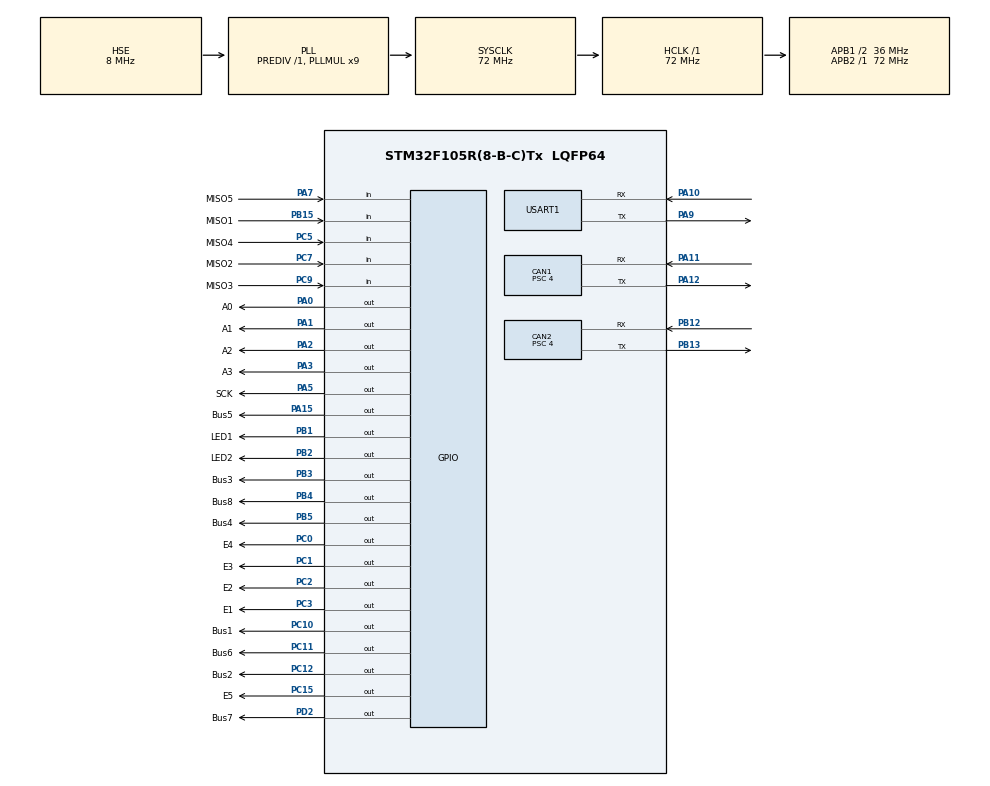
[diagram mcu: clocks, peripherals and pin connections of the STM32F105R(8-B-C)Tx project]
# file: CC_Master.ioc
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CAN1.BS1=CAN_BS1_15TQ
CAN1.BS2=CAN_BS2_2TQ
CAN1.CalculateBaudRate=500000
CAN1.CalculateTimeBit=2000
CAN1.CalculateTimeQuantum=111.11111111111111
CAN1.Prescaler=4
CAN2.BS1=CAN_BS1_15TQ
CAN2.BS2=CAN_BS2_2TQ
CAN2.CalculateBaudRate=500000
CAN2.CalculateTimeBit=2000
CAN2.CalculateTimeQuantum=111.11111111111111
CAN2.Prescaler=4
Mcu.Family=STM32F1
Mcu.Name=STM32F105R(8-B-C)Tx
Mcu.Package=LQFP64
NVIC.PriorityGroup=NVIC_PRIORITYGROUP_4
NVIC.TIM2_IRQn=true\:0\:0\:false\:false\:true\:true\:true\:true
PA0-WKUP.GPIO_Label=A0
PA0-WKUP.Signal=GPIO_Output
PA1.GPIO_Label=A1
PA1.Signal=GPIO_Output
PA10.Mode=Asynchronous
PA10.Signal=USART1_RX
PA11.Mode=CAN_Activate
PA11.Signal=CAN1_RX
PA12.Mode=CAN_Activate
PA12.Signal=CAN1_TX
PA13.Mode=Serial_Wire
PA13.Signal=SYS_JTMS-SWDIO
PA14.Mode=Serial_Wire
PA14.Signal=SYS_JTCK-SWCLK
PA15.GPIO_Label=Bus5
PA15.Signal=GPIO_Output
PA2.GPIO_Label=A2
PA2.Signal=GPIO_Output
PA3.GPIO_Label=A3
PA3.Signal=GPIO_Output
PA5.GPIO_Label=SCK
PA5.Signal=GPIO_Output
PA7.GPIO_Label=MISO5
PA7.Signal=GPIO_Input
PA9.Mode=Asynchronous
PA9.Signal=USART1_TX
PB1.GPIO_Label=LED1
PB1.Signal=GPIO_Output
PB12.Mode=CAN_Activate
PB12.Signal=CAN2_RX
PB13.Mode=CAN_Activate
PB13.Signal=CAN2_TX
PB15.GPIO_Label=MISO1
PB15.Signal=GPIO_Input
PB2.GPIO_Label=LED2
PB2.Signal=GPIO_Output
PB3.GPIO_Label=Bus3
PB3.Signal=GPIO_Output
PB4.GPIO_Label=Bus8
PB4.Signal=GPIO_Output
PB5.GPIO_Label=Bus4
PB5.Signal=GPIO_Output
PC0.GPIO_Label=E4
PC0.Signal=GPIO_Output
PC1.GPIO_Label=E3
PC1.Signal=GPIO_Output
PC10.GPIO_Label=Bus1
PC10.Signal=GPIO_Output
PC11.GPIO_Label=Bus6
PC11.Signal=GPIO_Output
PC12.GPIO_Label=Bus2
PC12.Signal=GPIO_Output
PC15-OSC32_OUT.GPIO_Label=E5
PC15-OSC32_OUT.Signal=GPIO_Output
PC2.GPIO_Label=E2
PC2.Signal=GPIO_Output
PC3.GPIO_Label=E1
PC3.Signal=GPIO_Output
PC5.GPIO_Label=MISO4
PC5.Signal=GPIO_Input
PC7.GPIO_Label=MISO2
PC7.Signal=GPIO_Input
PC9.GPIO_Label=MISO3
PC9.Signal=GPIO_Input
PD0-OSC_IN.Mode=HSE-External-Oscillator
PD0-OSC_IN.Signal=RCC_OSC_IN
PD1-OSC_OUT.Mode=HSE-External-Oscillator
PD1-OSC_OUT.Signal=RCC_OSC_OUT
PD2.GPIO_Label=Bus7
PD2.Signal=GPIO_Output
ProjectManager.HeapSize=0x200
ProjectManager.StackSize=0x400
ProjectManager.TargetToolchain=STM32CubeIDE
RCC.AHBFreq_Value=72000000
RCC.APB1CLKDivider=RCC_HCLK_DIV2
RCC.APB1Freq_Value=36000000
RCC.APB1TimFreq_Value=72000000
RCC.APB2Freq_Value=72000000
RCC.APB2TimFreq_Value=72000000
RCC.HCLKFreq_Value=72000000
RCC.PLLMUL=RCC_PLL_MUL9
RCC.PLLSourceVirtual=RCC_PLLSOURCE_HSE
RCC.SYSCLKFreq_VALUE=72000000
RCC.SYSCLKSource=RCC_SYSCLKSOURCE_PLLCLK
RCC.USBFreq_Value=48000000
TIM2.Period=10
TIM2.Prescaler=3599
USART1.VirtualMode=VM_ASYNC
VP_TIM2_VS_ClockSourceINT.Mode=Internal
board=custom

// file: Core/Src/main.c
/* USER CODE BEGIN Header */
/**
  ******************************************************************************
  * @file           : main.c
  * @brief          : Main program body
  ******************************************************************************
  * @attention
  *
  * Copyright (c) 2025 STMicroelectronics.
  * All rights reserved.
  *
  * This software is licensed under terms that can be found in the LICENSE file
  * in the root directory of this software component.
  * If no LICENSE file comes with this software, it is provided AS-IS.
  *
  ******************************************************************************
  */
/* USER CODE END Header */
#include "main.h"

CAN_HandleTypeDef hcan1;
CAN_HandleTypeDef hcan2;

TIM_HandleTypeDef htim2;

UART_HandleTypeDef huart1;

/* USER CODE BEGIN PV */
uint8_t timer_tick_flag = 0;

uint16_t value12;
uint16_t adc_value = 0;
uint16_t V = 0;
uint16_t adc12 = 0;
uint8_t bit_index = 0;
uint8_t transfer_done = 0;
uint8_t timer_flag = 0;
uint8_t sck_state = 0;
/* USER CODE END PV */

void SystemClock_Config(void);
static void MX_GPIO_Init(void);
static void MX_CAN1_Init(void);
static void MX_CAN2_Init(void);
static void MX_USART1_UART_Init(void);
static void MX_TIM2_Init(void);
/* USER CODE BEGIN PFP */
#define PUTCHAR_PROTOTYPE int __io_putchar(int ch)

#define SCK_HIGH()    HAL_GPIO_WritePin(GPIOA, SCK_Pin, GPIO_PIN_SET)
#define SCK_LOW()     HAL_GPIO_WritePin(GPIOA, SCK_Pin, GPIO_PIN_RESET)
/* USER CODE END PFP */

/* USER CODE BEGIN 0 */
void WaitTimerTick(void)
{
    while (!timer_tick_flag);  // ждём, пока не установится
    timer_tick_flag = 0;       // сбрасываем после ожидания
}

void ADC_ChipSelect(uint8_t adc_index)
{
	uint8_t bit0 = (adc_index >> 0) & 0x01;
	uint8_t bit1 = (adc_index >> 1) & 0x01;
	uint8_t bit2 = (adc_index >> 2) & 0x01;
	uint8_t bit3 = (adc_index >> 3) & 0x01;

	HAL_GPIO_WritePin(GPIOA, A0_Pin, bit0 ? GPIO_PIN_SET : GPIO_PIN_RESET);
	HAL_GPIO_WritePin(GPIOA, A1_Pin, bit1 ? GPIO_PIN_SET : GPIO_PIN_RESET);
	HAL_GPIO_WritePin(GPIOA, A2_Pin, bit2 ? GPIO_PIN_SET : GPIO_PIN_RESET);
	HAL_GPIO_WritePin(GPIOA, A3_Pin, bit3 ? GPIO_PIN_SET : GPIO_PIN_RESET);
}

void ADC_LevelSet(uint8_t adc_index, GPIO_PinState adc_level)
{
	uint8_t board_index = adc_index / 14;

	switch (board_index)
	{
		case (0):
			HAL_GPIO_WritePin(GPIOC, E1_Pin, adc_level);
			break;
		case (1):
			HAL_GPIO_WritePin(GPIOC, E2_Pin, adc_level);
			break;
		case (2):
			HAL_GPIO_WritePin(GPIOC, E3_Pin, adc_level);
			break;
		case (3):
			HAL_GPIO_WritePin(GPIOC, E4_Pin, adc_level);
			break;
		case (4):
			HAL_GPIO_WritePin(GPIOC, E5_Pin, adc_level);
			break;
		default:
			HAL_GPIO_WritePin(GPIOC, E1_Pin, GPIO_PIN_SET);
			HAL_GPIO_WritePin(GPIOC, E2_Pin, GPIO_PIN_SET);
			HAL_GPIO_WritePin(GPIOC, E3_Pin, GPIO_PIN_SET);
			HAL_GPIO_WritePin(GPIOC, E4_Pin, GPIO_PIN_SET);
			HAL_GPIO_WritePin(GPIOC, E5_Pin, GPIO_PIN_SET);
			break;
	}

}

uint8_t MISO_READ(uint8_t adc_index)
{
    uint8_t board_index = adc_index / 14;

    switch (board_index)
    {
        case 0:
            return HAL_GPIO_ReadPin(GPIOB, MISO1_Pin);
        case 1:
            return HAL_GPIO_ReadPin(GPIOC, MISO2_Pin);
        case 2:
            return HAL_GPIO_ReadPin(GPIOC, MISO3_Pin);
        case 3:
            return HAL_GPIO_ReadPin(GPIOC, MISO4_Pin);
        case 4:
            return HAL_GPIO_ReadPin(GPIOA, MISO5_Pin);
        default:
            return 0;
    }
}

void ADC_On(uint8_t adc_index)
{
	HAL_TIM_Base_Start_IT(&htim2); // запускаем таймер

	ADC_LevelSet(adc_index, GPIO_PIN_RESET);
	for(int i=0; i<22; i++)
	{
		WaitTimerTick();
	}
	ADC_LevelSet(adc_index, GPIO_PIN_SET);

	HAL_TIM_Base_Stop_IT(&htim2);
}

void ADC_DataRead(uint8_t adc_index)
{
	HAL_TIM_Base_Start_IT(&htim2); // запускаем таймер

	ADC_LevelSet(adc_index, GPIO_PIN_RESET);

	for(int i=0; i<16; i++)
	{
	    // фронт
	    SCK_HIGH();
	    WaitTimerTick();
	    adc_value <<= 1;
	    if(MISO_READ(adc_index)) adc_value |= 1;

	    // спад
	    SCK_LOW();
	    WaitTimerTick();
	}

	ADC_LevelSet(adc_index, GPIO_PIN_SET);
	HAL_TIM_Base_Stop_IT(&htim2);

	adc12 = adc_value & 0x0FFF; // 12 бит ADC
	V = (uint16_t)(adc12 * 1000 * 3.3f * 6.6f / 4095.0f);
	printf("ADC = %u, V = %u mV\n\r", adc12, V);
	sck_state = 0;
	bit_index = 0;
	return;
}

void ADC_Off(uint8_t adc_index)
{
	HAL_TIM_Base_Start_IT(&htim2); // запускаем таймер

	ADC_LevelSet(adc_index, GPIO_PIN_RESET);
	for(int i=0; i<8; i++)
	{
		WaitTimerTick();
	}
	ADC_LevelSet(adc_index, GPIO_PIN_SET);

	HAL_TIM_Base_Stop_IT(&htim2);
}
/* USER CODE END 0 */

int main(void)
{

  /* MCU Configuration--------------------------------------------------------*/

  /* Reset of all peripherals, Initializes the Flash interface and the Systick. */
  HAL_Init();

  /* Configure the system clock */
  SystemClock_Config();

  /* Initialize all configured peripherals */
  MX_GPIO_Init();
  MX_CAN1_Init();
  MX_CAN2_Init();
  MX_USART1_UART_Init();
  MX_TIM2_Init();
  /* USER CODE BEGIN 2 */

  HAL_CAN_Start(&hcan1);

     CAN_TxHeaderTypeDef TxHeader;
     CAN_RxHeaderTypeDef RxHeader;
     uint8_t TxData[8] = {1,2,3,4,5,6,7,8};
     uint8_t RxData[8];
     uint32_t TxMailbox;

     TxHeader.DLC = 8;
     TxHeader.IDE = CAN_ID_STD;
     TxHeader.RTR = CAN_RTR_DATA;
     TxHeader.StdId = 0x100;
  // Отправляем кадр

  /* USER CODE END 2 */

  /* Infinite loop */
  /* USER CODE BEGIN WHILE */
  while (1)
  {

	  for (uint8_t adc_index = 42; adc_index <= 55; adc_index++)
	  {
			bit_index = 0;
			adc_value = 0;
			ADC_ChipSelect(adc_index);
			ADC_On(adc_index);
			HAL_Delay(1);
			ADC_DataRead(adc_index);
			HAL_Delay(1);
			ADC_Off(adc_index);
			HAL_Delay(1);
	  }
	  HAL_GPIO_TogglePin(GPIOB, LED1_Pin);
	  HAL_Delay(100);
	  HAL_GPIO_TogglePin(GPIOB, LED2_Pin);
	  printf("\033[2J");  // очистить весь экран
	  printf("\033[H");   // курсор в начало

    /* USER CODE END WHILE */

  }
}

void SystemClock_Config(void)
{
  RCC_OscInitTypeDef RCC_OscInitStruct = {0};
  RCC_ClkInitTypeDef RCC_ClkInitStruct = {0};

  /** Initializes the RCC Oscillators according to the specified parameters
  * in the RCC_OscInitTypeDef structure.
  */
  RCC_OscInitStruct.OscillatorType = RCC_OSCILLATORTYPE_HSE;
  RCC_OscInitStruct.HSEState = RCC_HSE_ON;
  RCC_OscInitStruct.HSEPredivValue = RCC_HSE_PREDIV_DIV1;
  RCC_OscInitStruct.HSIState = RCC_HSI_ON;
  RCC_OscInitStruct.Prediv1Source = RCC_PREDIV1_SOURCE_HSE;
  RCC_OscInitStruct.PLL.PLLState = RCC_PLL_ON;
  RCC_OscInitStruct.PLL.PLLSource = RCC_PLLSOURCE_HSE;
  RCC_OscInitStruct.PLL.PLLMUL = RCC_PLL_MUL9;
  RCC_OscInitStruct.PLL2.PLL2State = RCC_PLL_NONE;
  if (HAL_RCC_OscConfig(&RCC_OscInitStruct) != HAL_OK)
  {
    Error_Handler();
  }

  /** Initializes the CPU, AHB and APB buses clocks
  */
  RCC_ClkInitStruct.ClockType = RCC_CLOCKTYPE_HCLK|RCC_CLOCKTYPE_SYSCLK
                              |RCC_CLOCKTYPE_PCLK1|RCC_CLOCKTYPE_PCLK2;
  RCC_ClkInitStruct.SYSCLKSource = RCC_SYSCLKSOURCE_PLLCLK;
  RCC_ClkInitStruct.AHBCLKDivider = RCC_SYSCLK_DIV1;
  RCC_ClkInitStruct.APB1CLKDivider = RCC_HCLK_DIV2;
  RCC_ClkInitStruct.APB2CLKDivider = RCC_HCLK_DIV1;

  if (HAL_RCC_ClockConfig(&RCC_ClkInitStruct, FLASH_LATENCY_2) != HAL_OK)
  {
    Error_Handler();
  }

  /** Configure the Systick interrupt time
  */
  __HAL_RCC_PLLI2S_ENABLE();
}

static void MX_CAN1_Init(void)
{

  hcan1.Instance = CAN1;
  hcan1.Init.Prescaler = 4;
  hcan1.Init.Mode = CAN_MODE_NORMAL;
  hcan1.Init.SyncJumpWidth = CAN_SJW_1TQ;
  hcan1.Init.TimeSeg1 = CAN_BS1_15TQ;
  hcan1.Init.TimeSeg2 = CAN_BS2_2TQ;
  hcan1.Init.TimeTriggeredMode = DISABLE;
  hcan1.Init.AutoBusOff = DISABLE;
  hcan1.Init.AutoWakeUp = DISABLE;
  hcan1.Init.AutoRetransmission = DISABLE;
  hcan1.Init.ReceiveFifoLocked = DISABLE;
  hcan1.Init.TransmitFifoPriority = DISABLE;
  if (HAL_CAN_Init(&hcan1) != HAL_OK)
  {
    Error_Handler();
  }
  /* USER CODE BEGIN CAN1_Init 2 */
  // Конфигурация фильтра (пропускает все кадры)
  CAN_FilterTypeDef canfilterconfig;
  canfilterconfig.FilterActivation = CAN_FILTER_ENABLE;
  canfilterconfig.FilterBank = 0;
  canfilterconfig.FilterFIFOAssignment = CAN_FILTER_FIFO0;
  canfilterconfig.FilterIdHigh = 0x0000;
  canfilterconfig.FilterIdLow = 0x0000;
  canfilterconfig.FilterMaskIdHigh = 0x0000;
  canfilterconfig.FilterMaskIdLow = 0x0000;
  canfilterconfig.FilterMode = CAN_FILTERMODE_IDMASK;
  canfilterconfig.FilterScale = CAN_FILTERSCALE_32BIT;
  canfilterconfig.SlaveStartFilterBank = 14;

  HAL_CAN_ConfigFilter(&hcan1, &canfilterconfig);
  /* USER CODE END CAN1_Init 2 */

}

static void MX_CAN2_Init(void)
{

  hcan2.Instance = CAN2;
  hcan2.Init.Prescaler = 4;
  hcan2.Init.Mode = CAN_MODE_NORMAL;
  hcan2.Init.SyncJumpWidth = CAN_SJW_1TQ;
  hcan2.Init.TimeSeg1 = CAN_BS1_15TQ;
  hcan2.Init.TimeSeg2 = CAN_BS2_2TQ;
  hcan2.Init.TimeTriggeredMode = DISABLE;
  hcan2.Init.AutoBusOff = DISABLE;
  hcan2.Init.AutoWakeUp = DISABLE;
  hcan2.Init.AutoRetransmission = DISABLE;
  hcan2.Init.ReceiveFifoLocked = DISABLE;
  hcan2.Init.TransmitFifoPriority = DISABLE;
  if (HAL_CAN_Init(&hcan2) != HAL_OK)
  {
    Error_Handler();
  }
  /* USER CODE BEGIN CAN2_Init 2 */
  // Конфигурация фильтра (пропускает все кадры)
  CAN_FilterTypeDef canfilterconfig;
  canfilterconfig.FilterActivation = CAN_FILTER_ENABLE;
  canfilterconfig.FilterBank = 0;
  canfilterconfig.FilterFIFOAssignment = CAN_FILTER_FIFO0;
  canfilterconfig.FilterIdHigh = 0x0000;
  canfilterconfig.FilterIdLow = 0x0000;
  canfilterconfig.FilterMaskIdHigh = 0x0000;
  canfilterconfig.FilterMaskIdLow = 0x0000;
  canfilterconfig.FilterMode = CAN_FILTERMODE_IDMASK;
  canfilterconfig.FilterScale = CAN_FILTERSCALE_32BIT;
  canfilterconfig.SlaveStartFilterBank = 14;

  HAL_CAN_ConfigFilter(&hcan2, &canfilterconfig);
  /* USER CODE END CAN2_Init 2 */

}

static void MX_TIM2_Init(void)
{

  TIM_ClockConfigTypeDef sClockSourceConfig = {0};
  TIM_MasterConfigTypeDef sMasterConfig = {0};

  htim2.Instance = TIM2;
  htim2.Init.Prescaler = 3599;
  htim2.Init.CounterMode = TIM_COUNTERMODE_UP;
  htim2.Init.Period = 10;
  htim2.Init.ClockDivision = TIM_CLOCKDIVISION_DIV1;
  htim2.Init.AutoReloadPreload = TIM_AUTORELOAD_PRELOAD_DISABLE;
  if (HAL_TIM_Base_Init(&htim2) != HAL_OK)
  {
    Error_Handler();
  }
  sClockSourceConfig.ClockSource = TIM_CLOCKSOURCE_INTERNAL;
  if (HAL_TIM_ConfigClockSource(&htim2, &sClockSourceConfig) != HAL_OK)
  {
    Error_Handler();
  }
  sMasterConfig.MasterOutputTrigger = TIM_TRGO_RESET;
  sMasterConfig.MasterSlaveMode = TIM_MASTERSLAVEMODE_DISABLE;
  if (HAL_TIMEx_MasterConfigSynchronization(&htim2, &sMasterConfig) != HAL_OK)
  {
    Error_Handler();
  }

}

static void MX_USART1_UART_Init(void)
{

  huart1.Instance = USART1;
  huart1.Init.BaudRate = 115200;
  huart1.Init.WordLength = UART_WORDLENGTH_8B;
  huart1.Init.StopBits = UART_STOPBITS_1;
  huart1.Init.Parity = UART_PARITY_NONE;
  huart1.Init.Mode = UART_MODE_TX_RX;
  huart1.Init.HwFlowCtl = UART_HWCONTROL_NONE;
  huart1.Init.OverSampling = UART_OVERSAMPLING_16;
  if (HAL_UART_Init(&huart1) != HAL_OK)
  {
    Error_Handler();
  }

}

static void MX_GPIO_Init(void)
{
  GPIO_InitTypeDef GPIO_InitStruct = {0};

  /* GPIO Ports Clock Enable */
  __HAL_RCC_GPIOC_CLK_ENABLE();
  __HAL_RCC_GPIOD_CLK_ENABLE();
  __HAL_RCC_GPIOA_CLK_ENABLE();
  __HAL_RCC_GPIOB_CLK_ENABLE();

  /*Configure GPIO pin Output Level */
  HAL_GPIO_WritePin(GPIOC, E5_Pin|E4_Pin|E3_Pin|E2_Pin
                          |E1_Pin|Bus1_Pin|Bus6_Pin|Bus2_Pin, GPIO_PIN_RESET);

  /*Configure GPIO pin Output Level */
  HAL_GPIO_WritePin(GPIOA, A0_Pin|A1_Pin|A2_Pin|A3_Pin
                          |SCK_Pin|Bus5_Pin, GPIO_PIN_RESET);

  /*Configure GPIO pin Output Level */
  HAL_GPIO_WritePin(GPIOB, LED1_Pin|LED2_Pin|Bus3_Pin|Bus8_Pin
                          |Bus4_Pin, GPIO_PIN_RESET);

  /*Configure GPIO pin Output Level */
  HAL_GPIO_WritePin(Bus7_GPIO_Port, Bus7_Pin, GPIO_PIN_RESET);

  /*Configure GPIO pins : E5_Pin E4_Pin E3_Pin E2_Pin
                           E1_Pin Bus1_Pin Bus6_Pin Bus2_Pin */
  GPIO_InitStruct.Pin = E5_Pin|E4_Pin|E3_Pin|E2_Pin
                          |E1_Pin|Bus1_Pin|Bus6_Pin|Bus2_Pin;
  GPIO_InitStruct.Mode = GPIO_MODE_OUTPUT_PP;
  GPIO_InitStruct.Pull = GPIO_NOPULL;
  GPIO_InitStruct.Speed = GPIO_SPEED_FREQ_LOW;
  HAL_GPIO_Init(GPIOC, &GPIO_InitStruct);

  /*Configure GPIO pins : A0_Pin A1_Pin A2_Pin A3_Pin
                           SCK_Pin Bus5_Pin */
  GPIO_InitStruct.Pin = A0_Pin|A1_Pin|A2_Pin|A3_Pin
                          |SCK_Pin|Bus5_Pin;
  GPIO_InitStruct.Mode = GPIO_MODE_OUTPUT_PP;
  GPIO_InitStruct.Pull = GPIO_NOPULL;
  GPIO_InitStruct.Speed = GPIO_SPEED_FREQ_LOW;
  HAL_GPIO_Init(GPIOA, &GPIO_InitStruct);

  /*Configure GPIO pin : MISO5_Pin */
  GPIO_InitStruct.Pin = MISO5_Pin;
  GPIO_InitStruct.Mode = GPIO_MODE_INPUT;
  GPIO_InitStruct.Pull = GPIO_NOPULL;
  HAL_GPIO_Init(MISO5_GPIO_Port, &GPIO_InitStruct);

  /*Configure GPIO pins : MISO4_Pin MISO2_Pin MISO3_Pin */
  GPIO_InitStruct.Pin = MISO4_Pin|MISO2_Pin|MISO3_Pin;
  GPIO_InitStruct.Mode = GPIO_MODE_INPUT;
  GPIO_InitStruct.Pull = GPIO_NOPULL;
  HAL_GPIO_Init(GPIOC, &GPIO_InitStruct);

  /*Configure GPIO pins : LED1_Pin LED2_Pin Bus3_Pin Bus8_Pin
                           Bus4_Pin */
  GPIO_InitStruct.Pin = LED1_Pin|LED2_Pin|Bus3_Pin|Bus8_Pin
                          |Bus4_Pin;
  GPIO_InitStruct.Mode = GPIO_MODE_OUTPUT_PP;
  GPIO_InitStruct.Pull = GPIO_NOPULL;
  GPIO_InitStruct.Speed = GPIO_SPEED_FREQ_LOW;
  HAL_GPIO_Init(GPIOB, &GPIO_InitStruct);

  /*Configure GPIO pin : MISO1_Pin */
  GPIO_InitStruct.Pin = MISO1_Pin;
  GPIO_InitStruct.Mode = GPIO_MODE_INPUT;
  GPIO_InitStruct.Pull = GPIO_NOPULL;
  HAL_GPIO_Init(MISO1_GPIO_Port, &GPIO_InitStruct);

  /*Configure GPIO pin : Bus7_Pin */
  GPIO_InitStruct.Pin = Bus7_Pin;
  GPIO_InitStruct.Mode = GPIO_MODE_OUTPUT_PP;
  GPIO_InitStruct.Pull = GPIO_NOPULL;
  GPIO_InitStruct.Speed = GPIO_SPEED_FREQ_LOW;
  HAL_GPIO_Init(Bus7_GPIO_Port, &GPIO_InitStruct);

}

/* USER CODE BEGIN 4 */
PUTCHAR_PROTOTYPE
{
  /* Place your implementation of fputc here */
  /* e.g. write a character to the USART1 and Loop until the end of transmission */
  HAL_UART_Transmit(&huart1, (uint8_t *)&ch, 1, 0xFFFF);

  return ch;
}

void HAL_TIM_PeriodElapsedCallback(TIM_HandleTypeDef *htim)
{
    if(htim->Instance == TIM2)
    {
    	timer_tick_flag = 1;

    }
}
/* USER CODE END 4 */

void Error_Handler(void)
{
  __disable_irq();
  while (1)
  {
  }
}
